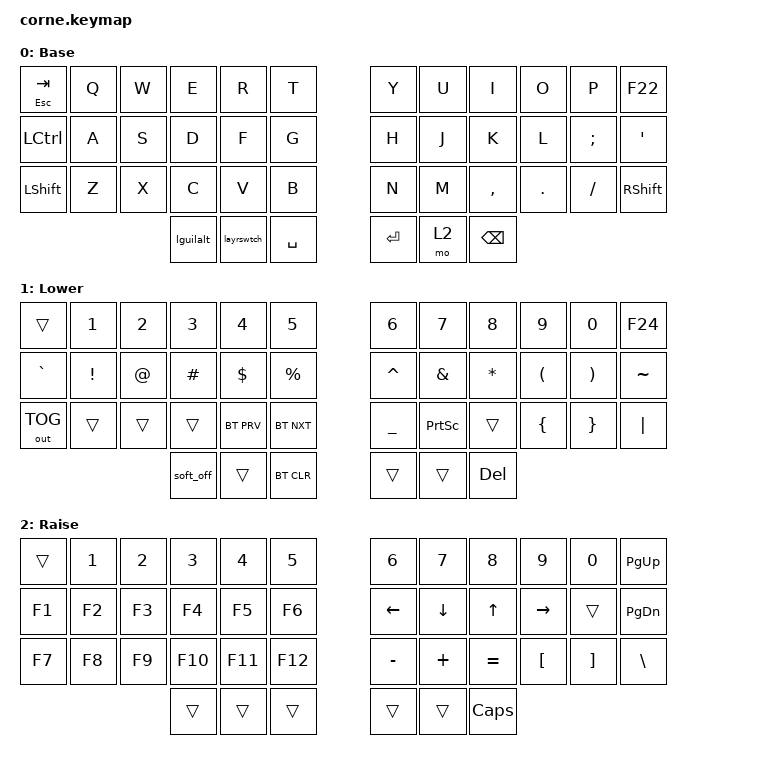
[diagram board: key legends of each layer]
/*
 * Copyright (c) 2020 The ZMK Contributors
 *
 * SPDX-License-Identifier: MIT
 */

#include <behaviors.dtsi>
#include <dt-bindings/zmk/keys.h>
#include <dt-bindings/zmk/bt.h>
#include <dt-bindings/zmk/outputs.h>

&soft_off {
    hold-time-ms = <3000>; // Only turn off if the key is held for 3 seconds or longer.
    /delete-property/ split-peripheral-off-on-press; // Apply the hold time to the right half too.
};

&mt {
    tapping-term-ms = <138>;
};

/ {
        behaviors {
            lguilalt: tap_dance_0 {
                compatible = "zmk,behavior-tap-dance";
                #binding-cells = <0>;
                tapping-term-ms = <200>;
                bindings = <&kp LGUI>, <&kp LALT>;
            };

            layrswtch: tap_dance_1 {
                compatible = "zmk,behavior-tap-dance";
                #binding-cells = <0>;
                tapping-term-ms = <200>;
                bindings = <&mo 1>, <&mo 2>;
            };
        };

        keymap {
                compatible = "zmk,keymap";

                default_layer {
                    display-name = "Base";
// -----------------------------------------------------------------------------------------
// | TAB/ESC |  Q  |  W  |  E  |  R  |  T  |   |  Y  |  U   |   I   |  O  |  P  | F22  |
// | CTRL    |  A  |  S  |  D  |  F  |  G  |   |  H  |  J   |   K   |  L  |  ;  |  '   |
// | SHFT    |  Z  |  X  |  C  |  V  |  B  |   |  N  |  M   |   ,   |  .  |  /  | SHFT |
//                       |TPD0 |LOWER| SPC |   | ENT |RAISE | BSPC  |
                    bindings = <
   &mt ESC TAB  &kp Q  &kp W  &kp E     &kp R       &kp T           &kp Y   &kp U  &kp I     &kp O   &kp P    &kp F22
   &kp LCTRL    &kp A  &kp S  &kp D     &kp F       &kp G           &kp H   &kp J  &kp K     &kp L   &kp SEMI &kp SQT
   &kp LSHFT    &kp Z  &kp X  &kp C     &kp V       &kp B           &kp N   &kp M  &kp COMMA &kp DOT &kp FSLH &kp RSHIFT
                              &lguilalt &layrswtch  &kp SPACE       &kp RET &mo 2  &kp BSPC
                    >;
                };
                lower_layer {
                    display-name = "Lower";
// -----------------------------------------------------------------------------------------
// |     |  1  |  2  |  3  |  4  |  5  |   |  6  |  7  |  8  |  9  |  0  | F24 |
// |  `  |  !  |  @  |  #  |  $  |  %  |   |  ^  |  &  |  *  |  (  |  )  |  ~  |
// | TOG |     |     |     |BT_PV|BT_NT|   |  _  |PSCRN|     |  {  |  }  | "|" |
//                   |STOFF|     |BTCLR|   |     |     | DEL |
                    bindings = <
   &trans       &kp N1     &kp N2     &kp N3       &kp N4       &kp N5              &kp N6      &kp N7    &kp N8    &kp N9    &kp N0   &kp F24
   &kp GRAVE    &kp EXCL   &kp AT     &kp HASH     &kp DLLR     &kp PRCNT           &kp CARET   &kp AMPS  &kp ASTRK &kp LPAR  &kp RPAR &kp TILDE
   &out OUT_TOG &trans     &trans     &trans       &bt BT_PRV   &bt BT_NXT          &kp UNDER   &kp PSCRN &trans    &kp LBRC  &kp RBRC &kp PIPE
                                      &soft_off    &trans       &bt BT_CLR           &trans      &trans    &kp DEL
                    >;
                };

                raise_layer {
                    display-name = "Raise";
// -----------------------------------------------------------------------------------------
// |     |  1  |  2  |  3  |  4  |  5  |   |  6  |  7  |  8  |  9  |  0  | PG_UP |
// | F1  | F2  | F3  | F4  | F5  | F6  |   | <-  |  v  |  ^  | ->  |     | PG_DN |
// | F7  | F8  | F9  | F10 | F11 | F12 |   |  -  |  +  |  =  |  [  |  ]  |   \   |
//                   |     |     |     |   |     |     |CAPS |
                    bindings = <
   &trans    &kp N1   &kp N2 &kp N3   &kp N4   &kp N5        &kp N6    &kp N7    &kp N8    &kp N9    &kp N0   &kp PG_UP
   &kp F1    &kp F2   &kp F3 &kp F4   &kp F5   &kp F6        &kp LEFT  &kp DOWN  &kp UP    &kp RIGHT &trans   &kp PG_DN
   &kp F7    &kp F8   &kp F9 &kp F10  &kp F11  &kp F12       &kp MINUS &kp PLUS  &kp EQUAL &kp LBKT  &kp RBKT &kp BSLH
                             &trans   &trans   &trans        &trans    &trans    &kp CAPS
                    >;
                };
        };
};
